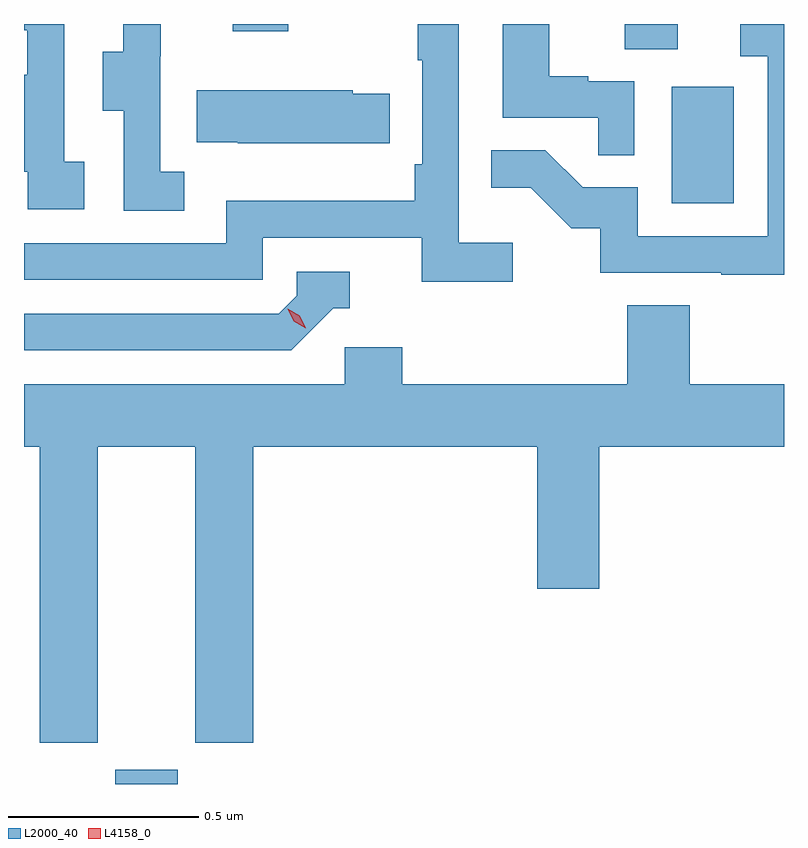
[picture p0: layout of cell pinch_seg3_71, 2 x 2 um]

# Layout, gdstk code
import gdstk
lib = gdstk.Library(unit=1e-6, precision=1e-09)
def R(c, l, rs):  # rectangles x0, y0, x1, y1
    for r in rs: c.add(gdstk.rectangle(r[:2], r[2:], *l))
def P(c, l, *ps):  # polygons
    for p in ps: c.add(gdstk.Polygon(p, *l))
L2000_40 = (2000, 40)
L4158_0 = (4158, 0)

pinch_seg3_71 = lib.new_cell('pinch_seg3_71')
R(pinch_seg3_71, L2000_40, [(1039.022,731.996,1039.186,732.033), (1040.486,733.524,1040.65,733.831), (1040.363,733.93,1040.503,733.996), (1039.331,733.977,1039.478,733.996)])
P(pinch_seg3_71, L2000_40, [(1040.388,733.845),(1040.267,733.845),(1040.267,733.858),(1040.164,733.858),(1040.164,733.996),(1040.042,733.996),(1040.042,733.749),(1040.293,733.749),(1040.293,733.651),(1040.388,733.651)],
  [(1038.94,733.634),(1038.888,733.634),(1038.888,733.996),(1038.782,733.996),(1038.782,733.98),(1038.79,733.98),(1038.79,733.862),(1038.782,733.862),(1038.782,733.607),(1038.792,733.607),(1038.792,733.509),(1038.94,733.509)],
  [(1039.204,733.607),(1039.14,733.607),(1039.14,733.911),(1039.142,733.911),(1039.142,733.996),(1039.043,733.996),(1039.043,733.923),(1038.989,733.923),(1038.989,733.768),(1039.044,733.768),(1039.044,733.504),(1039.204,733.504)],
  [(1040.068,733.42),(1039.926,733.42),(1039.926,733.996),(1039.818,733.996),(1039.818,733.9),(1039.83,733.9),(1039.83,733.627),(1039.81,733.627),(1039.81,733.531),(1039.314,733.531),(1039.314,733.419),(1038.782,733.419),(1038.782,733.323),(1039.41,733.323),(1039.41,733.434),(1039.829,733.434),(1039.829,733.318),(1040.068,733.318)],
  [(1040.782,733.996),(1040.667,733.996),(1040.667,733.911),(1040.739,733.911),(1040.739,733.437),(1040.397,733.437),(1040.397,733.566),(1040.252,733.566),(1040.154,733.664),(1040.011,733.664),(1040.011,733.565),(1040.115,733.565),(1040.222,733.458),(1040.299,733.458),(1040.299,733.341),(1040.617,733.341),(1040.617,733.336),(1040.782,733.336)],
  [(1039.745,733.812),(1039.647,733.812),(1039.647,733.822),(1039.237,733.822),(1039.237,733.685),(1039.345,733.685),(1039.345,733.682),(1039.745,733.682)],
  [(1039.596,733.248),(1039.639,733.248),(1039.639,733.344),(1039.5,733.344),(1039.5,733.281),(1039.452,733.233),(1038.782,733.233),(1038.782,733.137),(1039.485,733.137)],
  [(1038.976,732.884),(1039.232,732.884),(1039.232,732.105),(1039.385,732.105),(1039.385,732.884),(1040.132,732.884),(1040.132,732.51),(1040.296,732.51),(1040.296,732.884),(1040.782,732.884),(1040.782,733.048),(1040.534,733.048),(1040.534,733.256),(1040.369,733.256),(1040.369,733.048),(1039.778,733.048),(1039.778,733.146),(1039.626,733.146),(1039.626,733.048),(1038.782,733.048),(1038.782,732.884),(1038.824,732.884),(1038.824,732.105),(1038.976,732.105)])
P(pinch_seg3_71, L4158_0, [(1039.523,733.195),(1039.492,733.214),(1039.476,733.247),(1039.476,733.247),(1039.476,733.247),(1039.507,733.228),(1039.524,733.195),(1039.524,733.195)])

lib.write_gds('pinch_seg3_71.gds')
